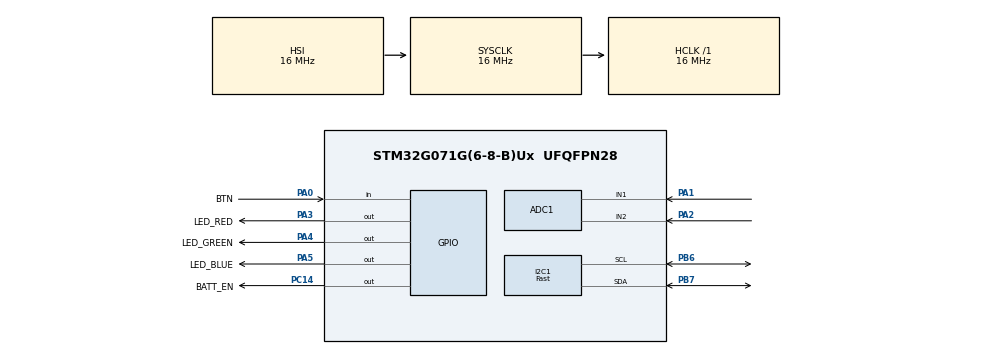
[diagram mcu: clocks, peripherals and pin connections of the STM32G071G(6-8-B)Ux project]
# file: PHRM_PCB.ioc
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ADC1.Channel-0\#ChannelRegularConversion=ADC_CHANNEL_2
ADC1.ContinuousConvMode=DISABLE
ADC1.DMAContinuousRequests=ENABLE
ADC1.DiscontinuousConvMode=DISABLE
ADC1.ExternalTrigConv=ADC_EXTERNALTRIG_T3_TRGO
ADC1.NbrOfConversionFlag=1
ADC1.Rank-0\#ChannelRegularConversion=1
ADC1.SamplingTime-0\#ChannelRegularConversion=ADC_SAMPLINGTIME_COMMON_1
ADC1.SamplingTimeCommon1=ADC_SAMPLETIME_160CYCLES_5
ADC1.SelectedChannel=ADC_CHANNEL_1|ADC_CHANNEL_2
ADC1.master=1
Dma.ADC1.0.Direction=DMA_PERIPH_TO_MEMORY
Dma.ADC1.0.EventEnable=DISABLE
Dma.ADC1.0.Instance=DMA1_Channel1
Dma.ADC1.0.MemDataAlignment=DMA_MDATAALIGN_HALFWORD
Dma.ADC1.0.MemInc=DMA_MINC_ENABLE
Dma.ADC1.0.Mode=DMA_CIRCULAR
Dma.ADC1.0.PeriphDataAlignment=DMA_PDATAALIGN_HALFWORD
Dma.ADC1.0.PeriphInc=DMA_PINC_DISABLE
Dma.ADC1.0.Polarity=HAL_DMAMUX_REQ_GEN_RISING
Dma.ADC1.0.Priority=DMA_PRIORITY_LOW
Dma.ADC1.0.RequestNumber=1
Dma.ADC1.0.SignalID=NONE
Dma.ADC1.0.SyncEnable=DISABLE
Dma.ADC1.0.SyncPolarity=HAL_DMAMUX_SYNC_NO_EVENT
Dma.ADC1.0.SyncRequestNumber=1
Dma.ADC1.0.SyncSignalID=NONE
Dma.Request0=ADC1
I2C1.I2C_Fall_Time=10
I2C1.I2C_Speed_Mode=I2C_Fast
I2C1.Timing=0x00300619
Mcu.Family=STM32G0
Mcu.Name=STM32G071G(6-8-B)Ux
Mcu.Package=UFQFPN28
NVIC.DMA1_Channel1_IRQn=true\:0\:0\:false\:false\:true\:false\:true\:true
PA0.GPIO_Label=BTN
PA0.GPIO_PuPd=GPIO_PULLUP
PA0.Signal=GPIO_Input
PA1.Mode=IN1
PA1.Signal=ADC1_IN1
PA13.Mode=Serial_Wire
PA13.Signal=SYS_SWDIO
PA14-BOOT0.Mode=Serial_Wire
PA14-BOOT0.Signal=SYS_SWCLK
PA2.Mode=IN2
PA2.Signal=ADC1_IN2
PA3.GPIO_Label=LED_RED
PA3.Signal=GPIO_Output
PA4.GPIO_Label=LED_GREEN
PA4.Signal=GPIO_Output
PA5.GPIO_Label=LED_BLUE
PA5.Signal=GPIO_Output
PB6.Mode=I2C
PB6.Signal=I2C1_SCL
PB7.Mode=I2C
PB7.Signal=I2C1_SDA
PC14-OSC32_IN\ (PC14).GPIO_Label=BATT_EN
PC14-OSC32_IN\ (PC14).Signal=GPIO_Output
ProjectManager.HeapSize=0x400
ProjectManager.StackSize=0x400
ProjectManager.TargetToolchain=STM32CubeIDE
RCC.AHBFreq_Value=16000000
RCC.CortexFreq_Value=16000000
RCC.EXTERNAL_CLOCK_VALUE=48000
RCC.HCLKFreq_Value=16000000
RCC.HSE_VALUE=8000000
RCC.HSI_VALUE=16000000
RCC.LSE_VALUE=32768
RCC.SYSCLKFreq_VALUE=16000000
RCC.VCOOutputFreq_Value=128000000
TIM3.Period=249
TIM3.Prescaler=159
TIM3.TIM_MasterOutputTrigger=TIM_TRGO_UPDATE
TIM3.TIM_MasterSlaveMode=TIM_MASTERSLAVEMODE_DISABLE
VP_TIM3_VS_ClockSourceINT.Mode=Internal
board=custom

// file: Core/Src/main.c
/* USER CODE BEGIN Header */
/**
  ******************************************************************************
  * @file           : main.c
  * @brief          : Main program body
  ******************************************************************************
  * @attention
  *
  * Copyright (c) 2026 STMicroelectronics.
  * All rights reserved.
  *
  * This software is licensed under terms that can be found in the LICENSE file
  * in the root directory of this software component.
  * If no LICENSE file comes with this software, it is provided AS-IS.
  *
  ******************************************************************************
  */
/* USER CODE END Header */
#include "main.h"
#include "adc.h"
#include "dma.h"
#include "i2c.h"
#include "tim.h"
#include "gpio.h"

/* USER CODE BEGIN Includes */
#include <stdio.h>				// snprintf for BPM string formatting
#include "stm32g0xx_hal.h"		// STM32G0 HAL driver
#include "ssd1306.h"			// OLED display driver
#include "ssd1306_fonts.h"		// OLED font definitions
#include "IHRD.h"				// Irregular Heart Rate Detection module
/* USER CODE END Includes */

/* USER CODE BEGIN PD */
#define ADC_BUFFER_SIZE 128

// --- High-Pass Filter (DC removal) ---
// Cutoff ~0.5Hz: higher value = lower cutoff, more DC rejection
#define HP_ALPHA                0.95f

// --- Low-Pass Filter (noise removal) ---
// Cutoff ~10Hz: lower value = lower cutoff, more smoothing
// LP_BETA is automatically 1 - LP_ALPHA
#define LP_ALPHA                0.1f
#define LP_BETA                 (1.0f - LP_ALPHA)

// --- Sample Rate ---
#define SAMPLE_RATE_HZ          400.0f
#define MS_PER_SAMPLE           (1000.0f / SAMPLE_RATE_HZ)   // 2.5ms

// --- BPM Averaging ---
// Higher = faster response, lower = smoother reading
#define BPM_AVG_ALPHA           0.2f
#define BPM_AVG_BETA            (1.0f - BPM_AVG_ALPHA)

// --- BPM Validity Range ---
#define BPM_MIN                 40.0f
#define BPM_MAX                 180.0f

// --- Threshold: separate baseline and peak envelope trackers ---
// Baseline tracks slow-moving signal floor (rises fast, falls slow)
#define BASELINE_ATTACK         0.95f
#define BASELINE_DECAY          0.999f
// Peak envelope tracks signal ceiling (rises fast, falls slow)
#define ENVELOPE_ATTACK         0.90f
#define ENVELOPE_DECAY          0.9998f
// Peak must exceed this fraction of the baseline-to-envelope range
#define THRESH_TRIGGER_FRAC     0.75f

// --- Signal Quality / Not-Worn Detection ---
// Minimum AC amplitude (envelope - baseline) to consider signal valid
#define AC_MIN_AMPLITUDE        200.0f

// --- Peak Width Gate (glitch rejection) ---
// Minimum samples the signal must be locally max across
#define PEAK_WINDOW             9

// --- Refractory: short debounce only, physiological gate is RR_MIN_MS ---
// Fix: REFRACTORY_SAMPLES (debounce) must be LESS than RR_MIN_MS in samples
// 80 samples = 200ms debounce, RR_MIN_MS = 300ms is the real gate (now reachable)
#define REFRACTORY_SAMPLES      80

// --- RR Interval Validity (ms) ---
#define RR_MIN_MS               300.0f    // ~200 BPM max
#define RR_MAX_MS               1500.0f   // ~40 BPM min

// --- LED Beat Flash Duration (ms) ---
#define BEAT_FLASH_MS           80

// --- Button ---
#define BTN_DEBOUNCE_MS    200    // Minimum ms between valid button presses

/* USER CODE END PD */

/* USER CODE BEGIN PV */
// DMA
uint16_t adc_buffer[ADC_BUFFER_SIZE];
volatile uint8_t data_ready = 0;

// ADC sample
uint16_t adc_value = 0;

// Timing
uint32_t sample_count = 0;
uint32_t last_peak_sample = 0;
uint32_t last_display_update = 0;
uint32_t last_beat_flash_ms =   0;

// BPM
float bpm = 0;
float bpm_avg = 0;
uint8_t signal_valid = 0;     // 0 = not worn / noisy

// Filtering
float hp = 0;
float lp = 0;
float ppg_signal = 0;
float prev_input = 0;

// 5-sample window for glitch-resistant peak detection
float sig_history[PEAK_WINDOW] = {0};

// Separate baseline and peak envelope (replaces single adaptive threshold)
float sig_baseline =            2048.0f;   // start at mid-scale
float sig_envelope =            2048.0f;

// OLED: track last displayed value to avoid full redraws
int prev_bpm_display =         -1;
uint8_t prev_valid_display =    2;     // force first draw

// IHRD
IrregularHRM_t hrm;
uint8_t prev_ihrd_display = 2;
uint8_t ihrd_alert_active = 0;    // Persistent flag — stays set until button clears it
uint8_t prev_ihrd_alert   = 2;    // Force first draw

// Button
uint32_t last_btn_press_ms = 0;   // Tracks last debounced press timestamp

/* USER CODE END PV */

void SystemClock_Config(void);

int main(void)
{

  /* MCU Configuration--------------------------------------------------------*/

  /* Reset of all peripherals, Initializes the Flash interface and the Systick. */
  HAL_Init();

  /* Configure the system clock */
  SystemClock_Config();

  /* Initialize all configured peripherals */
  MX_GPIO_Init();
  MX_DMA_Init();
  MX_ADC1_Init();
  MX_I2C1_Init();
  MX_TIM3_Init();
  /* USER CODE BEGIN 2 */
  ssd1306_Init();		// Initialize OLED over I2C
  IRHRM_Init(&hrm);		// Initialize IHRD module
  HAL_GPIO_WritePin(LED_RED_GPIO_Port, LED_RED_Pin, GPIO_PIN_SET);	// red LED start OFF
  HAL_GPIO_WritePin(LED_BLUE_GPIO_Port, LED_BLUE_Pin, GPIO_PIN_SET);// blue LED start OFF
  //Display Project Title to OLED Display
  ssd1306_Fill(Black);
  ssd1306_SetCursor(0, 0);
  ssd1306_WriteString("PHRM", Font_7x10, White);
  ssd1306_UpdateScreen();

  // Start TIM3 — triggers ADC at 400Hz
  HAL_TIM_Base_Start(&htim3);

  // Start ADC — fills buffer via DMA at 400Hz
  HAL_ADC_Start_DMA(&hadc1, (uint32_t*)adc_buffer, ADC_BUFFER_SIZE);
  /* USER CODE END 2 */

  /* Infinite loop */
  while (1)
  {

    /* USER CODE BEGIN 3 */
	  // Check if DMA buffer is full
	  // This flag is set inside HAL_ADC_ConvCpltCallback()
	  if (data_ready)
	  {
		  data_ready = 0;

		  for (int i = 0; i < ADC_BUFFER_SIZE; i++)
		  {
			  adc_value = adc_buffer[i];
			  sample_count++;

			  // --- Filtering ---
			  hp = HP_ALPHA * (hp + (float)adc_value - prev_input);
			  prev_input = (float)adc_value;
			  lp = LP_ALPHA * hp + LP_BETA * lp;
			  ppg_signal = lp;

			  // --- Separate baseline and envelope trackers ---
			  // Baseline tracks signal floor
			  if (ppg_signal < sig_baseline)
				  sig_baseline = BASELINE_ATTACK * sig_baseline
							   + (1.0f - BASELINE_ATTACK) * ppg_signal;
			  else
				  sig_baseline = BASELINE_DECAY  * sig_baseline
							   + (1.0f - BASELINE_DECAY)  * ppg_signal;

			  // Envelope tracks signal ceiling
			  if (ppg_signal > sig_envelope)
				  sig_envelope = ENVELOPE_ATTACK * sig_envelope
							   + (1.0f - ENVELOPE_ATTACK) * ppg_signal;
			  else
				  sig_envelope = ENVELOPE_DECAY  * sig_envelope
							   + (1.0f - ENVELOPE_DECAY)  * ppg_signal;

			  // --- Signal quality / not-worn gate ---
			  float ac_amplitude = sig_envelope - sig_baseline;			// Signal swing — used for quality gate and threshold scaling
			  signal_valid = (ac_amplitude >= AC_MIN_AMPLITUDE) ? 1 : 0;// Gate all processing on minimum signal strength

			  // --- 5-sample history shift (glitch-resistant local max) ---
			  for (int j = PEAK_WINDOW - 1; j > 0; j--)
				  sig_history[j] = sig_history[j - 1];
			  sig_history[0] = ppg_signal;

			  // --- Peak detection: center of 5-sample window must be global max ---
			  // Only run if signal is valid (worn and not noisy)
			  if (signal_valid)
			  {
				  float center = sig_history[PEAK_WINDOW / 2];  // sig_history[2]
				  uint8_t is_peak = 1;	// Assume local max until a neighbor disproves it
				  for (int j = 0; j < PEAK_WINDOW; j++)
				  {
					  if (j == PEAK_WINDOW / 2) continue;	// Skip center sample
					  if (sig_history[j] >= center) { is_peak = 0; break; }	// Neighbor >= center: not a peak
				  }

				  // Scaled threshold: fraction of baseline-to-envelope range
				  float threshold_trigger = sig_baseline
										  + THRESH_TRIGGER_FRAC * ac_amplitude;

				  if (is_peak && center > threshold_trigger)	 // Valid peak: local max above scaled threshold
				  {
					  uint32_t delta_samples = sample_count - last_peak_sample;	// Samples elapsed since last beat

					  // Short debounce only — physiological check below is the real gate
					  if (delta_samples > REFRACTORY_SAMPLES)
					  {
						  float delta_ms = delta_samples * MS_PER_SAMPLE;	// Convert sample count to milliseconds

						  // Physiological gate (NOW reachable since debounce < this)
						  if (delta_ms > RR_MIN_MS && delta_ms < RR_MAX_MS)
						  {
							  bpm = 60000.0f / delta_ms;	// Instantaneous BPM from RR interval

							  if (bpm > BPM_MIN && bpm < BPM_MAX)
								  bpm_avg = BPM_AVG_BETA * bpm_avg + BPM_AVG_ALPHA * bpm;	// Exponential moving average smooths reading

							  // Feed RR interval into IHRD
							  IRHRM_Update(&hrm, (uint32_t)delta_ms);

							  // Flash red LED on valid beat
							  HAL_GPIO_WritePin(GPIOA, LED_RED_Pin, GPIO_PIN_RESET);
							  last_beat_flash_ms = HAL_GetTick();
						  	  }
						  last_peak_sample = sample_count;	// Record sample index of this beat
					  	  }
				  	  }
			  	  }
		  	  }
		  } // end sample loop

		  // --- Turn off beat flash after BEAT_FLASH_MS ---
		  if (HAL_GetTick() - last_beat_flash_ms > BEAT_FLASH_MS)
			  HAL_GPIO_WritePin(GPIOA, LED_RED_Pin, GPIO_PIN_SET);

		  // --- Button: clear IHRD alert on press ---
		  static uint8_t btn_stable = 0;    // consecutive LOW read counter
		  static uint8_t btn_pressed = 0;	// Prevents re-trigger while button held
		  if (HAL_GPIO_ReadPin(BTN_GPIO_Port, BTN_Pin) == GPIO_PIN_RESET)  // active low
		  {
			  if (btn_stable < 255) btn_stable++;
		  }
		  else
		  {
			  btn_stable = 0;    // reset on any HIGH reading
			  btn_pressed = 0;	// Button released — allow next press
		  }

		  if (btn_stable >= 5 && !btn_pressed)    // require 5 consecutive LOW reads (~5 loop iterations)
		  {
				if (HAL_GetTick() - last_btn_press_ms > BTN_DEBOUNCE_MS)
				{
					btn_pressed       = 1;		// Block re-trigger until button released
					last_btn_press_ms = HAL_GetTick();   // Record press time
					HAL_GPIO_TogglePin(LED_GREEN_GPIO_Port, LED_GREEN_Pin); // Toggle green on each press
					ihrd_alert_active = 0;     // Clear persistent alert
					prev_ihrd_alert   = 2;     // Force OLED alert row redraw
					IRHRM_ClearAlert(&hrm);    // Reset irregular state
					prev_ihrd_display = 2;     // Reset ihrd state tracker to force full redraw
				}
		  }

		  // --- OLED update: only redraw changed content ---
		  if ((HAL_GetTick() - last_display_update) > 500)
		  {
			  last_display_update = HAL_GetTick();	// Reset 500ms display timer
			  int bpm_int = (int)bpm_avg;	// Integer BPM for display
			  uint8_t ihrd_state  = signal_valid ? IRHRM_IsIrregular(&hrm) : 2;	// 0=regular 1=irregular 2=not worn
			  if (ihrd_state == 1)
			      ihrd_alert_active = 1;    // Latch — only cleared by button press

			  // Only redraw BPM number if value or validity changed
			  if (bpm_int != prev_bpm_display || ihrd_state != prev_ihrd_display ||
			      signal_valid != prev_valid_display || ihrd_alert_active != prev_ihrd_alert)
			  {
				  // Update display state trackers
				  prev_bpm_display   = bpm_int;
				  prev_valid_display = signal_valid;
				  prev_ihrd_display  = ihrd_state;
				  prev_ihrd_alert    = ihrd_alert_active;    // Track persistent alert state

				  // Clear entire area below title (y=10 to y=63)
				  // handles both alert→normal and normal→alert transitions
				  ssd1306_FillRectangle(0, 10, 127, 63, Black);

				  if (ihrd_alert_active)
				  {
					  // --- Large irregular rhythm alert ---
					  ssd1306_SetCursor(0, 20);
					  ssd1306_WriteString("WARNING!", Font_16x24, White);
					  ssd1306_SetCursor(0, 50);
					  ssd1306_WriteString("! Irreg Rhythm !", Font_7x10, White);
					  HAL_GPIO_WritePin(LED_BLUE_GPIO_Port, LED_BLUE_Pin, GPIO_PIN_RESET); // blue ON
				  }
				  else
				  {
					  // --- Normal display: BPM row ---
					  ssd1306_SetCursor(0, 20);
					  if (signal_valid)
					  {
						  char bpm_text[12];
						  snprintf(bpm_text, sizeof(bpm_text), "BPM: %d", bpm_int);
						  ssd1306_WriteString(bpm_text, Font_11x18, White);
					  }
					  else
					  {
						  ssd1306_WriteString("BPM: ---", Font_11x18, White);
					  }

					  // --- Status row ---
					  ssd1306_SetCursor(0, 50);
					  if (ihrd_state == 0)
						  ssd1306_WriteString("Regular", Font_7x10, White);

					  HAL_GPIO_WritePin(LED_BLUE_GPIO_Port, LED_BLUE_Pin, GPIO_PIN_SET); // blue OFF
				  }
				  ssd1306_UpdateScreen();
			  }
		  }
  }
  /* USER CODE END 3 */
}

void SystemClock_Config(void)
{
  RCC_OscInitTypeDef RCC_OscInitStruct = {0};
  RCC_ClkInitTypeDef RCC_ClkInitStruct = {0};

  /** Configure the main internal regulator output voltage
  */
  HAL_PWREx_ControlVoltageScaling(PWR_REGULATOR_VOLTAGE_SCALE1);

  /** Initializes the RCC Oscillators according to the specified parameters
  * in the RCC_OscInitTypeDef structure.
  */
  RCC_OscInitStruct.OscillatorType = RCC_OSCILLATORTYPE_HSI;
  RCC_OscInitStruct.HSIState = RCC_HSI_ON;
  RCC_OscInitStruct.HSIDiv = RCC_HSI_DIV1;
  RCC_OscInitStruct.HSICalibrationValue = RCC_HSICALIBRATION_DEFAULT;
  RCC_OscInitStruct.PLL.PLLState = RCC_PLL_NONE;
  if (HAL_RCC_OscConfig(&RCC_OscInitStruct) != HAL_OK)
  {
    Error_Handler();
  }

  /** Initializes the CPU, AHB and APB buses clocks
  */
  RCC_ClkInitStruct.ClockType = RCC_CLOCKTYPE_HCLK|RCC_CLOCKTYPE_SYSCLK
                              |RCC_CLOCKTYPE_PCLK1;
  RCC_ClkInitStruct.SYSCLKSource = RCC_SYSCLKSOURCE_HSI;
  RCC_ClkInitStruct.AHBCLKDivider = RCC_SYSCLK_DIV1;
  RCC_ClkInitStruct.APB1CLKDivider = RCC_HCLK_DIV1;

  if (HAL_RCC_ClockConfig(&RCC_ClkInitStruct, FLASH_LATENCY_0) != HAL_OK)
  {
    Error_Handler();
  }
}

/* USER CODE BEGIN 4 */
// DMA transfer complete — signal main loop that buffer is ready to process
void HAL_ADC_ConvCpltCallback(ADC_HandleTypeDef *hadc)
{
    if (hadc->Instance == ADC1)
        data_ready = 1;	// Set flag; main loop processes buffer and clears it
}
/* USER CODE END 4 */

void Error_Handler(void)
{
  __disable_irq();
  while (1)
  {
  }
}
